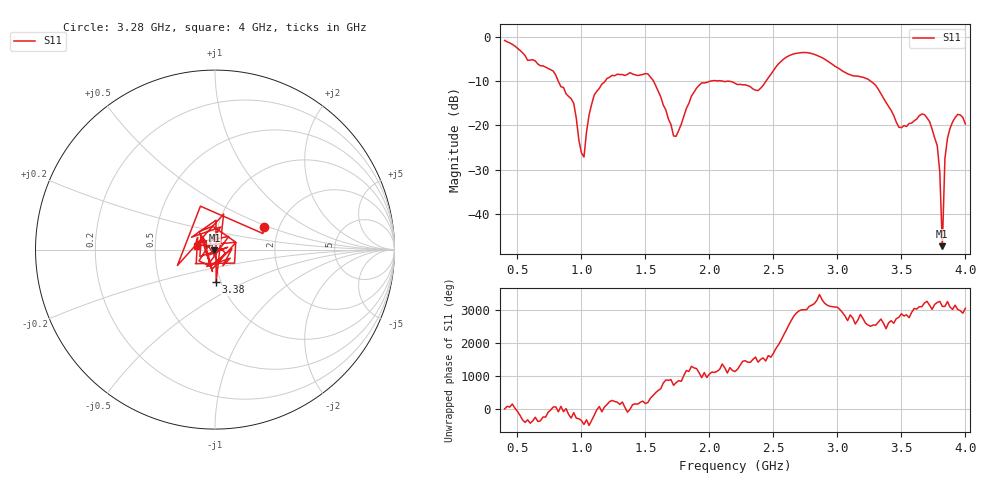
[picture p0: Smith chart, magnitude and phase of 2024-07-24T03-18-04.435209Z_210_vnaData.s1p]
!Created with skrf (http://scikit-rf.org).
# Hz S RI R 50.0
!freq ReS11 ImS11
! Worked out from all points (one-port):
!   181 points, 400 MHz to 4 GHz, reference 50 ohm
!   lowest |S11| = -47.2 dB at 3.82 GHz (marker M1), VSWR 1.01, Z = 49.7 - j0.31 ohm
!   |S11| at or under -10 dB: 818.9 MHz to 1.185 GHz (366.6 MHz wide, 36.6 % of centre); 1.563 GHz to 2.011 GHz (448.3 MHz wide, 25.1 % of centre); 3.258 GHz to end of sweep (the widest 3 of 4)
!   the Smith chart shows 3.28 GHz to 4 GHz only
!   S11 on the Smith chart (normalised r, x): 3.28 GHz: 1.66, +0.47; 3.38 GHz: 0.95, -0.36; 4 GHz: 0.81, +0.03
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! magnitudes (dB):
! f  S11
! 400 MHz  -0.8
! 860 MHz  -11.4
! 940 MHz  -15.0
! 980 MHz  -23.3
! 1.02 GHz  -27.1
! 1.06 GHz  -17.6
! 1.1 GHz  -13.1
! 1.3 GHz  -8.5
! 1.52 GHz  -8.4
! 1.72 GHz  -22.4
! 1.76 GHz  -21.1
! 1.94 GHz  -10.4
! 2.2 GHz  -10.5
! 2.38 GHz  -12.1
! 2.66 GHz  -3.9
! 3.1 GHz  -8.6
! 3.28 GHz  -10.5
! 3.38 GHz  -14.8
! 3.48 GHz  -20.4
! 3.56 GHz  -19.6
! 3.68 GHz  -17.5
! 3.78 GHz  -24.5
! 3.8 GHz  -30.5
! 3.82 GHz  -47.2
! 3.84 GHz  -27.5
! 3.86 GHz  -22.9
! 3.94 GHz  -17.5
! 4 GHz  -19.7
